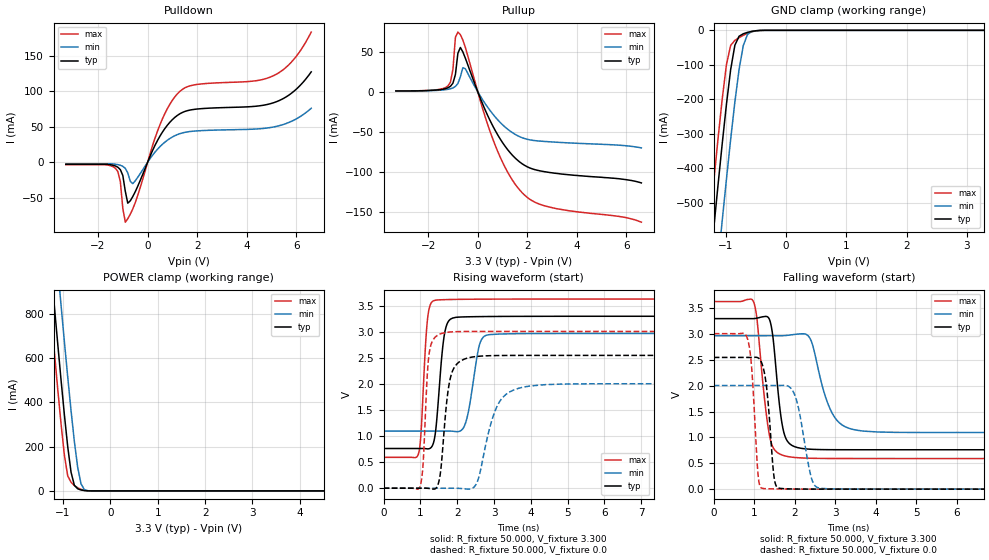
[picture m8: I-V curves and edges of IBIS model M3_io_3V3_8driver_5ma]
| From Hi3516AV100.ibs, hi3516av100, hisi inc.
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|   Model M3_io_3V3_8driver_5ma
[Model] M3_io_3V3_8driver_5ma
Model_type I/O
Enable   Active-Low
C_comp   2.098pF   2.067pF   2.214pF
C_comp_pullup   1.208pF   1.164pF   1.234pF
C_comp_pulldown   0.816pF   0.811pF   0.867pF
[Temperature Range]   25.000   0.125k   -40.000
[Voltage Range]   3.300V   2.970V   3.630V
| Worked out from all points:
|   slope of the pulldown table from 0 to 0.495 V, typ, clamps not added: 13.5 ohm
|   slope of the pullup table from 0 to 0.495 V, typ, clamps not added: 13.8 ohm
|   GND clamp passes 1 mA (typ) near -0.48 V on its own axis
|   POWER clamp passes 1 mA (typ) near -0.52 V on its own axis
|   rising waveform, R_fixture 50.000, V_fixture 3.300: 20-80 % time 182ps typ, 252ps min, 137ps max; typ from 0.763 V to 3.3 V
|   rising waveform, R_fixture 50.000, V_fixture 0.0: 20-80 % time 215ps typ, 456ps min, 126ps max; typ from 0.001 V to 2.55 V
|   falling waveform, R_fixture 50.000, V_fixture 3.300: 20-80 % time 203ps typ, 421ps min, 240ps max; typ from 3.3 V to 0.763 V
|   falling waveform, R_fixture 50.000, V_fixture 0.0: 20-80 % time 160ps typ, 274ps min, 135ps max; typ from 2.55 V to 0.001 V
[Pulldown]
|Voltage   I(typ)   I(min)   I(max)
-3.3V     -2.95mA    -2.277mA   -3.283mA
-1.3V     -5.213mA   -2.741mA   -8.411mA
-1.1V     -10.37mA   -4.226mA   -27.16mA
-1V       -18.61mA   -5.715mA   -65.11mA
-900mV    -41mA      -8.56mA    -84.63mA
-800mV    -57.79mA   -14.97mA   -79.78mA
-600mV    -48.54mA   -30.18mA   -66.06mA
500mV     37.06mA    22.14mA    53.17mA
1.2V      66.2mA     39.1mA     96.65mA
5.1V      84.33mA    50.01mA    122.7mA
5.9V      100.3mA    59.5mA     145.5mA
6.6V      127.7mA    76.28mA    183.9mA
[Pullup]
|Voltage   I(typ)   I(min)   I(max)
-3.3V     940uA      865.9uA    952.5uA
-1.2V     4.886mA    3.004mA    7.228mA
-1V       10.67mA    4.748mA    27.93mA
-900mV    21.47mA    6.576mA    67.9mA
-800mV    48.03mA    10.23mA    74.37mA
-700mV    55.15mA    18.64mA    71.2mA
-500mV    41.93mA    28.61mA    55.35mA
700mV     -48.1mA    -31.33mA   -66.47mA
1.2V      -72.04mA   -46.62mA   -100mA
1.8V      -90.12mA   -57.51mA   -126.3mA
2.9V      -100.8mA   -62.5mA    -144mA
6.6V      -113.8mA   -70.11mA   -162.8mA
[GND_clamp]
|Voltage   I(typ)   I(min)   I(max)
-3.3V     -4.517A    -4.69A     -4.416A
-1.27V    -700.5mA   -927.1mA   -564.6mA
-1.2V     -573.8mA   -800.2mA   -438.1mA
-1.06V    -328.9mA   -551.9mA   -199.2mA
-990mV    -214.8mA   -431.8mA   -99.7mA
-920mV    -114mA     -316.2mA   -43.53mA
-850mV    -43.24mA   -208mA     -29.29mA
-780mV    -17.1mA    -113.2mA   -21.3mA
-710mV    -9.984mA   -44.04mA   -14.34mA
-640mV    -5.898mA   -11.93mA   -8.548mA
-430mV    -290.1uA   -417uA     -293.3uA
3.28V     0A         0A         0A
[POWER_clamp]
|Voltage   I(typ)   I(min)   I(max)
-3.28V    6.17A      6.491A     5.979A
-1.32V    1.171A     1.514A     963.5mA
-1.25V    998.8mA    1.342A     791.6mA
-1.18V    828.8mA    1.171A     622.5mA
-1.04V    498.6mA    836.2mA    300.3mA
-970mV    342.4mA    672.8mA    160.5mA
-900mV    199.2mA    514.1mA    67.64mA
-830mV    84.45mA    362.5mA    39.03mA
-690mV    9.426mA    106.7mA    13.99mA
-620mV    4.06mA     32.35mA    6.988mA
-480mV    331.6uA    966.8uA    576.2uA
6.6V      -86.79uA   -108.3nA   -146.3uA
[Ramp]
| variable   typ   min   max
dV/dt_r   1.529/0.218n   1.204/0.457n   1.805/0.132n
dV/dt_f   1.522/0.205n   1.124/0.422n   1.823/0.241n
R_load = 50.000
[Rising Waveform]
R_fixture= 50.000
V_fixture= 3.300
V_fixture_min= 2.970
V_fixture_max= 3.630
|time   V(typ)   V(min)   V(max)
0s        762.5mV    1.096V     592.4mV
943ps     762.4mV    1.096V     651.2mV
1.186ns   756mV      1.096V     3.2V
1.36ns    883.6mV    1.096V     3.598V
1.648ns   2.934V     1.096V     3.619V
1.876ns   3.266V     1.094V     3.623V
2.222ns   3.288V     1.242V     3.626V
2.582ns   3.293V     2.685V     3.628V
2.781ns   3.295V     2.933V     3.628V
10ns      3.3V       2.97V      3.63V
[Rising Waveform]
R_fixture= 50.000
V_fixture= 0.0
V_fixture_min= 0.0
V_fixture_max= 0.0
|time   V(typ)   V(min)   V(max)
0s        743.2uV    0V         923.3uV
991ps     685.6uV    774nV      36.61mV
1.073ns   1.143mV    0V         480.1mV
1.227ns   -3.871mV   713.3nV    2.531V
1.52ns    189.8mV    13.44uV    2.955V
1.807ns   2.096V     174.4uV    2.998V
2.185ns   2.476V     -10.5mV    3.007V
2.532ns   2.529V     102.2mV    3.009V
3.541ns   2.548V     1.887V     3.009V
10ns      2.549V     2.006V     3.009V
[Falling Waveform]
R_fixture= 50.000
V_fixture= 3.300
V_fixture_min= 2.970
V_fixture_max= 3.630
|time   V(typ)   V(min)   V(max)
0s        3.3V       2.97V      3.63V
989ps     3.3V       2.97V      3.612V
1.065ns   3.309V     2.97V      3.3V
1.401ns   3.218V     2.97V      945.8mV
1.682ns   1.28V      2.97V      662.2mV
1.845ns   900.6mV    2.979V     629mV
2.345ns   774.8mV    2.955V     599.1mV
2.883ns   763.8mV    1.532V     593.7mV
3.432ns   762.7mV    1.156V     592.6mV
10ns      762.5mV    1.096V     592.4mV
[Falling Waveform]
R_fixture= 50.000
V_fixture= 0.0
V_fixture_min= 0.0
V_fixture_max= 0.0
|time   V(typ)   V(min)   V(max)
0s        2.549V     2.006V     3.009V
837ps     2.549V     2.006V     2.899V
939ps     2.549V     2.006V     2.308V
1.094ns   2.54V      2.006V     274.8mV
1.191ns   2.427V     2.006V     18.03mV
1.484ns   258mV      2.006V     5.641mV
1.581ns   26.92mV    2.006V     4.63mV
2.006ns   3.145mV    1.807V     2.136mV
2.565ns   962.3uV    29.5mV     1.161mV
10ns      741.7uV    0V         923.3uV
